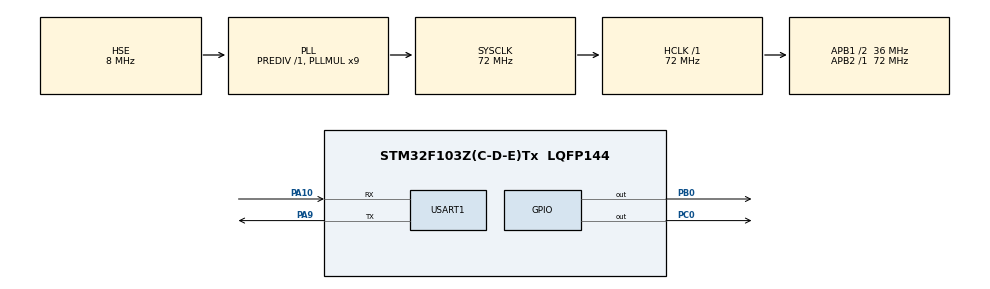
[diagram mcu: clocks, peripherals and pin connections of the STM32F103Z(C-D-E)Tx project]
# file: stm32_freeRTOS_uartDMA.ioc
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Dma.Request0=USART1_TX
Dma.Request1=USART1_RX
Dma.USART1_RX.1.Direction=DMA_PERIPH_TO_MEMORY
Dma.USART1_RX.1.Instance=DMA1_Channel5
Dma.USART1_RX.1.MemDataAlignment=DMA_MDATAALIGN_BYTE
Dma.USART1_RX.1.MemInc=DMA_MINC_ENABLE
Dma.USART1_RX.1.Mode=DMA_NORMAL
Dma.USART1_RX.1.PeriphDataAlignment=DMA_PDATAALIGN_BYTE
Dma.USART1_RX.1.PeriphInc=DMA_PINC_DISABLE
Dma.USART1_RX.1.Priority=DMA_PRIORITY_LOW
Dma.USART1_TX.0.Direction=DMA_MEMORY_TO_PERIPH
Dma.USART1_TX.0.Instance=DMA1_Channel4
Dma.USART1_TX.0.MemDataAlignment=DMA_MDATAALIGN_BYTE
Dma.USART1_TX.0.MemInc=DMA_MINC_ENABLE
Dma.USART1_TX.0.Mode=DMA_NORMAL
Dma.USART1_TX.0.PeriphDataAlignment=DMA_PDATAALIGN_BYTE
Dma.USART1_TX.0.PeriphInc=DMA_PINC_DISABLE
Dma.USART1_TX.0.Priority=DMA_PRIORITY_LOW
FREERTOS.Tasks01=defaultTask,24,128,StartDefaultTask,Default,NULL,Dynamic,NULL,NULL
Mcu.Family=STM32F1
Mcu.Name=STM32F103Z(C-D-E)Tx
Mcu.Package=LQFP144
NVIC.DMA1_Channel4_IRQn=true\:5\:0\:false\:false\:true\:true\:false\:true\:true
NVIC.DMA1_Channel5_IRQn=true\:5\:0\:false\:false\:true\:true\:false\:true\:true
NVIC.PriorityGroup=NVIC_PRIORITYGROUP_4
NVIC.TIM4_IRQn=true\:15\:0\:false\:false\:true\:false\:false\:true\:true
NVIC.TimeBase=TIM4_IRQn
NVIC.TimeBaseIP=TIM4
NVIC.USART1_IRQn=true\:5\:0\:false\:false\:true\:true\:true\:true\:true
OSC_IN.Mode=HSE-External-Oscillator
OSC_IN.Signal=RCC_OSC_IN
OSC_OUT.Mode=HSE-External-Oscillator
OSC_OUT.Signal=RCC_OSC_OUT
PA10.GPIO_PuPd=GPIO_PULLUP
PA10.Mode=Asynchronous
PA10.Signal=USART1_RX
PA13.Mode=Serial_Wire
PA13.Signal=SYS_JTMS-SWDIO
PA14.Mode=Serial_Wire
PA14.Signal=SYS_JTCK-SWCLK
PA9.Mode=Asynchronous
PA9.Signal=USART1_TX
PB0.GPIO_Speed=GPIO_SPEED_FREQ_MEDIUM
PB0.Signal=GPIO_Output
PC0.GPIO_Speed=GPIO_SPEED_FREQ_MEDIUM
PC0.Signal=GPIO_Output
PC14-OSC32_IN.Mode=LSE-External-Oscillator
PC14-OSC32_IN.Signal=RCC_OSC32_IN
PC15-OSC32_OUT.Mode=LSE-External-Oscillator
PC15-OSC32_OUT.Signal=RCC_OSC32_OUT
ProjectManager.HeapSize=0x200
ProjectManager.StackSize=0x400
ProjectManager.TargetToolchain=Makefile
RCC.AHBFreq_Value=72000000
RCC.APB1CLKDivider=RCC_HCLK_DIV2
RCC.APB1Freq_Value=36000000
RCC.APB1TimFreq_Value=72000000
RCC.APB2Freq_Value=72000000
RCC.APB2TimFreq_Value=72000000
RCC.HCLKFreq_Value=72000000
RCC.PLLMUL=RCC_PLL_MUL9
RCC.PLLSourceVirtual=RCC_PLLSOURCE_HSE
RCC.SYSCLKFreq_VALUE=72000000
RCC.SYSCLKSource=RCC_SYSCLKSOURCE_PLLCLK
RCC.USBFreq_Value=72000000
USART1.VirtualMode=VM_ASYNC
VP_FREERTOS_VS_CMSIS_V2.Mode=CMSIS_V2
VP_SYS_VS_tim4.Mode=TIM4
board=custom

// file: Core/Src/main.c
/* USER CODE BEGIN Header */
/**
 ******************************************************************************
 * @file           : main.c
 * @brief          : Main program body
 ******************************************************************************
 * @attention
 *
 * Copyright (c) 2022 STMicroelectronics.
 * All rights reserved.
 *
 * This software is licensed under terms that can be found in the LICENSE file
 * in the root directory of this software component.
 * If no LICENSE file comes with this software, it is provided AS-IS.
 *
 ******************************************************************************
 */
/* USER CODE END Header */
#include "main.h"
#include "cmsis_os.h"
#include "dma.h"
#include "usart.h"
#include "gpio.h"

/* USER CODE BEGIN PD */
#ifdef __ARMCC_VERSION
#    define PUTCHAR_PROTOTYPE int fputc(int ch, FILE *f)
#else
#    define PUTCHAR_PROTOTYPE int __io_putchar(int ch)
#endif
/* USER CODE END PD */

void SystemClock_Config(void);
void MX_FREERTOS_Init(void);

int main(void)
{

  /* MCU Configuration--------------------------------------------------------*/

  /* Reset of all peripherals, Initializes the Flash interface and the Systick. */
  HAL_Init();

  /* Configure the system clock */
  SystemClock_Config();

  /* Initialize all configured peripherals */
  MX_GPIO_Init();
  MX_DMA_Init();
  MX_USART1_UART_Init();

  /* Init scheduler */
  osKernelInitialize();  /* Call init function for freertos objects (in freertos.c) */
  MX_FREERTOS_Init();

  /* Start scheduler */
  osKernelStart();

  /* We should never get here as control is now taken by the scheduler */
  /* Infinite loop */
    while (1) {

    }
}

void SystemClock_Config(void)
{
  RCC_OscInitTypeDef RCC_OscInitStruct = {0};
  RCC_ClkInitTypeDef RCC_ClkInitStruct = {0};

  /** Initializes the RCC Oscillators according to the specified parameters
  * in the RCC_OscInitTypeDef structure.
  */
  RCC_OscInitStruct.OscillatorType = RCC_OSCILLATORTYPE_HSE;
  RCC_OscInitStruct.HSEState = RCC_HSE_ON;
  RCC_OscInitStruct.HSEPredivValue = RCC_HSE_PREDIV_DIV1;
  RCC_OscInitStruct.HSIState = RCC_HSI_ON;
  RCC_OscInitStruct.PLL.PLLState = RCC_PLL_ON;
  RCC_OscInitStruct.PLL.PLLSource = RCC_PLLSOURCE_HSE;
  RCC_OscInitStruct.PLL.PLLMUL = RCC_PLL_MUL9;
  if (HAL_RCC_OscConfig(&RCC_OscInitStruct) != HAL_OK)
  {
    Error_Handler();
  }

  /** Initializes the CPU, AHB and APB buses clocks
  */
  RCC_ClkInitStruct.ClockType = RCC_CLOCKTYPE_HCLK|RCC_CLOCKTYPE_SYSCLK
                              |RCC_CLOCKTYPE_PCLK1|RCC_CLOCKTYPE_PCLK2;
  RCC_ClkInitStruct.SYSCLKSource = RCC_SYSCLKSOURCE_PLLCLK;
  RCC_ClkInitStruct.AHBCLKDivider = RCC_SYSCLK_DIV1;
  RCC_ClkInitStruct.APB1CLKDivider = RCC_HCLK_DIV2;
  RCC_ClkInitStruct.APB2CLKDivider = RCC_HCLK_DIV1;

  if (HAL_RCC_ClockConfig(&RCC_ClkInitStruct, FLASH_LATENCY_2) != HAL_OK)
  {
    Error_Handler();
  }
}

void HAL_TIM_PeriodElapsedCallback(TIM_HandleTypeDef *htim)
{
  if (htim->Instance == TIM4) {
    HAL_IncTick();
  }
}

void Error_Handler(void)
{
    __disable_irq();
    while (1) {
    }
}

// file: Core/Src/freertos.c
/* USER CODE BEGIN Header */
/**
 ******************************************************************************
 * File Name          : freertos.c
 * Description        : Code for freertos applications
 ******************************************************************************
 * @attention
 *
 * Copyright (c) 2022 STMicroelectronics.
 * All rights reserved.
 *
 * This software is licensed under terms that can be found in the LICENSE file
 * in the root directory of this software component.
 * If no LICENSE file comes with this software, it is provided AS-IS.
 *
 ******************************************************************************
 */
/* USER CODE END Header */

#include "FreeRTOS.h"
#include "task.h"
#include "main.h"
#include "cmsis_os.h"

/* USER CODE BEGIN Includes */
#include "usart.h"
/* USER CODE END Includes */

/* USER CODE BEGIN Variables */

extern char test_dmarx_buff[BUFFER_SIZE];
TaskHandle_t xUartRxTaskHandle = NULL;
/* USER CODE END Variables */
/* Definitions for defaultTask */
osThreadId_t defaultTaskHandle;
const osThreadAttr_t defaultTask_attributes = {
    .name = "defaultTask",
    .stack_size = 128 * 4,
    .priority = (osPriority_t)osPriorityNormal,
};

/* USER CODE BEGIN FunctionPrototypes */
void vLED_1_Task(void *pvParameters);
void vLED_2_Task(void *pvParameters);
extern void vUART_RX_Task(void *pvParameters);

/* USER CODE END FunctionPrototypes */

void StartDefaultTask(void *argument);

void MX_FREERTOS_Init(void); /* (MISRA C 2004 rule 8.1) */

void MX_FREERTOS_Init(void)
{

    /* Create the thread(s) */
    /* creation of defaultTask */
    defaultTaskHandle = osThreadNew(StartDefaultTask, NULL, &defaultTask_attributes);

    /* USER CODE BEGIN RTOS_THREADS */
    /* add threads, ... */
    xTaskCreate(vLOG_Task, "vLog", 1024, NULL, tskIDLE_PRIORITY+1, NULL);
    xTaskCreate(vLED_1_Task, "LED1", configMINIMAL_STACK_SIZE, NULL, tskIDLE_PRIORITY + 2, NULL);
    xTaskCreate(vLED_2_Task, "LED2", configMINIMAL_STACK_SIZE, NULL, tskIDLE_PRIORITY + 2, NULL);
    xTaskCreate(vUART_RX_Task, "UART RX", configMINIMAL_STACK_SIZE, NULL, tskIDLE_PRIORITY + 3, &xUartRxTaskHandle);
    /* USER CODE END RTOS_THREADS */

}

void StartDefaultTask(void *argument)
{
    for (;;) {
        osDelay(1);
    }
}

/* USER CODE BEGIN Application */
void vLED_1_Task(void *pvParameters)
{
    while (1) {
        HAL_GPIO_WritePin(GPIOC, GPIO_PIN_0, GPIO_PIN_SET);
        ST_LOGI("LED1 OFF");
        vTaskDelay(10 / portTICK_RATE_MS);
        HAL_GPIO_WritePin(GPIOC, GPIO_PIN_0, GPIO_PIN_RESET);
        ST_LOGI("LED1 ON");
        vTaskDelay(10 / portTICK_RATE_MS);
    }
}

void vLED_2_Task(void *pvParameters)
{
    uint8_t i = 0;
    while (1) {
        HAL_GPIO_WritePin(GPIOB, GPIO_PIN_0, GPIO_PIN_SET);
        debug_printf("\e[0mLED2 1FF%d_2222222222222222222222222222222222222222222222222222222222222222222\r\n", i % 10);
        debug_printf("\e[0mLED2 2FF%d_2222222222222222222222222222222222222222222222222222222222222222222\r\n", i % 10);
        debug_printf("\e[0mLED2 3FF%d_2222222222222222222222222222222222222222222222222222222222222222222\r\n", i % 10);
        debug_printf("\e[0mLED2 4FF%d_2222222222222222222222222222222222222222222222222222222222222222222\r\n", i % 10);
        /* change delay to 40ms, you will see msg lost in output for the reason of queue full */
        vTaskDelay(50 / portTICK_RATE_MS);
        HAL_GPIO_WritePin(GPIOB, GPIO_PIN_0, GPIO_PIN_RESET);
        debug_printf("\e[0mLED2_ON %d_2222222222222222222222222222222222222222222222222222222222222222222\r\n", i % 10);
        vTaskDelay(10 / portTICK_RATE_MS);
        i++;
    }
}

/* USER CODE END Application */
